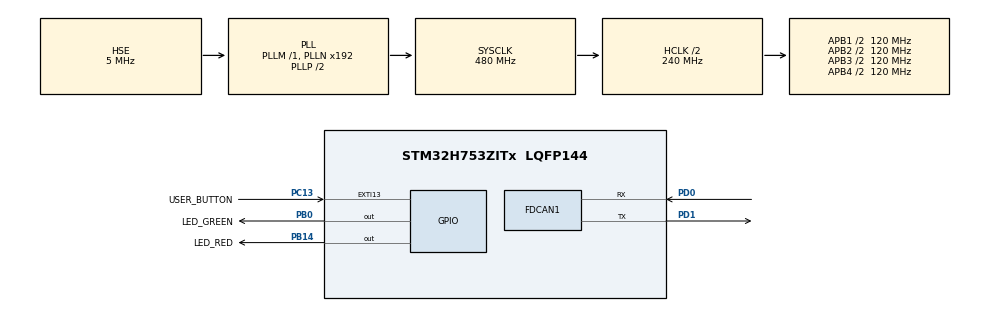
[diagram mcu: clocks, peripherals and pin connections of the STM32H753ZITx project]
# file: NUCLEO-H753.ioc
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CORTEX_M7.default_mode_Activation=1
FDCAN1.AutoRetransmission=ENABLE
FDCAN1.CalculateBaudRateNominal=999999
FDCAN1.CalculateTimeBitNominal=1000
FDCAN1.CalculateTimeQuantumNominal=8.333333333333334
FDCAN1.DataSyncJumpWidth=5
FDCAN1.DataTimeSeg1=8
FDCAN1.DataTimeSeg2=6
FDCAN1.FrameFormat=FDCAN_FRAME_FD_BRS
FDCAN1.NominalPrescaler=1
FDCAN1.NominalSyncJumpWidth=62
FDCAN1.NominalTimeSeg1=101
FDCAN1.NominalTimeSeg2=18
FDCAN1.RxBufferSize=FDCAN_DATA_BYTES_12
FDCAN1.RxFifo0ElmtSize=FDCAN_DATA_BYTES_12
FDCAN1.RxFifo0ElmtsNbr=2
FDCAN1.RxFifo1ElmtSize=FDCAN_DATA_BYTES_12
FDCAN1.StdFiltersNbr=1
FDCAN1.TransmitPause=ENABLE
FDCAN1.TxFifoQueueElmtsNbr=1
Mcu.Family=STM32H7
Mcu.Name=STM32H753ZITx
Mcu.Package=LQFP144
NVIC.EXTI15_10_IRQn=true\:1\:0\:true\:false\:true\:true\:true\:true
NVIC.FDCAN1_IT0_IRQn=true\:0\:0\:false\:false\:true\:true\:true\:true
NVIC.PriorityGroup=NVIC_PRIORITYGROUP_4
PB0.GPIO_Label=LED_GREEN
PB0.GPIO_Speed=GPIO_SPEED_FREQ_LOW
PB0.Signal=GPIO_Output
PB14.GPIO_Label=LED_RED
PB14.Signal=GPIO_Output
PC13.GPIO_Label=USER_BUTTON
PC13.Signal=GPXTI13
PD0.GPIO_Speed=GPIO_SPEED_FREQ_HIGH
PD0.Mode=FDCAN_Activate
PD0.Signal=FDCAN1_RX
PD1.GPIO_Speed=GPIO_SPEED_FREQ_HIGH
PD1.Mode=FDCAN_Activate
PD1.Signal=FDCAN1_TX
PH0-OSC_IN\ (PH0).Mode=HSE-External-Clock-Source
PH0-OSC_IN\ (PH0).Signal=RCC_OSC_IN
ProjectManager.HeapSize=0x200
ProjectManager.StackSize=0x400
ProjectManager.TargetToolchain=STM32CubeIDE
RCC.ADCFreq_Value=10078125
RCC.APB1Freq_Value=120000000
RCC.APB2Freq_Value=120000000
RCC.APB3Freq_Value=120000000
RCC.APB4Freq_Value=120000000
RCC.CortexFreq_Value=480000000
RCC.D1PPRE=RCC_APB3_DIV2
RCC.D2PPRE1=RCC_APB1_DIV2
RCC.D2PPRE2=RCC_APB2_DIV2
RCC.D3PPRE=RCC_APB4_DIV2
RCC.DIVM1=1
RCC.DIVN1=192
RCC.DIVQ1=8
RCC.HCLKFreq_Value=240000000
RCC.HPRE=RCC_HCLK_DIV2
RCC.HSE_VALUE=5000000
RCC.PLLFRACN=0
RCC.PLLSourceVirtual=RCC_PLLSOURCE_HSE
RCC.SYSCLKFreq_VALUE=480000000
RCC.SYSCLKSource=RCC_SYSCLKSOURCE_PLLCLK
RCC.USBFreq_Value=120000000
VP_MEMORYMAP_VS_MEMORYMAP.Mode=CurAppReg
board=custom

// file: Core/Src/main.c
/* USER CODE BEGIN Header */
/**
  ******************************************************************************
  * @file           : main.c
  * @brief          : Main program body
  ******************************************************************************
  * @attention
  *
  * Copyright (c) 2024 STMicroelectronics.
  * All rights reserved.
  *
  * This software is licensed under terms that can be found in the LICENSE file
  * in the root directory of this software component.
  * If no LICENSE file comes with this software, it is provided AS-IS.
  *
  ******************************************************************************
  */
/* USER CODE END Header */
#include "main.h"

FDCAN_HandleTypeDef hfdcan1;

/* USER CODE BEGIN PV */
FDCAN_FilterTypeDef        sFilterConfig;
FDCAN_RxHeaderTypeDef rxHeader;
FDCAN_TxHeaderTypeDef txHeader;
uint8_t txData[12] = {0x00, 0xAA, 0xAA, 0xAA, 0xAA, 0xAA, 0xAA, 0xAA, 0xAA, 0xAA, 0xAA, 0xFF};
uint8_t rxData[12];
uint8_t button_status = 0;
/* USER CODE END PV */

void SystemClock_Config(void);
static void MPU_Config(void);
static void MX_GPIO_Init(void);
static void MX_FDCAN1_Init(void);

int main(void)
{

  /* MPU Configuration--------------------------------------------------------*/
  MPU_Config();

  /* MCU Configuration--------------------------------------------------------*/

  /* Reset of all peripherals, Initializes the Flash interface and the Systick. */
  HAL_Init();

  /* Configure the system clock */
  SystemClock_Config();

  /* Initialize all configured peripherals */
  MX_GPIO_Init();
  MX_FDCAN1_Init();
  /* USER CODE BEGIN 2 */
  sFilterConfig.IdType       = FDCAN_STANDARD_ID;
  sFilterConfig.FilterIndex  = 0U;
  sFilterConfig.FilterType   = FDCAN_FILTER_MASK;
  sFilterConfig.FilterConfig = FDCAN_FILTER_TO_RXFIFO0;
  sFilterConfig.FilterID1    = 0x555;
  sFilterConfig.FilterID2    = 0x7FF;
  if (HAL_FDCAN_ConfigFilter(&hfdcan1, &sFilterConfig) != HAL_OK)
  {
    Error_Handler();
  }

  /**
    *  Configure global filter:
    *    - Filter all remote frames with STD and EXT ID
    *    - Reject non matching frames with STD ID and EXT ID
    */
  if (HAL_FDCAN_ConfigGlobalFilter(&hfdcan1,
                                   FDCAN_REJECT, FDCAN_REJECT,
                                   FDCAN_FILTER_REMOTE, FDCAN_FILTER_REMOTE) != HAL_OK)
  {
    Error_Handler();
  }

  /* Activate Rx FIFO 0 new message notification */
  if (HAL_FDCAN_ActivateNotification(&hfdcan1, FDCAN_IT_RX_FIFO0_NEW_MESSAGE, 0U) != HAL_OK)
  {
    Error_Handler();
  }

  /* Prepare Tx message Header */
  txHeader.Identifier          = 0x555;
  txHeader.IdType              = FDCAN_STANDARD_ID;
  txHeader.TxFrameType         = FDCAN_DATA_FRAME;
  txHeader.DataLength          = FDCAN_DLC_BYTES_12;
  txHeader.ErrorStateIndicator = FDCAN_ESI_ACTIVE;
  txHeader.BitRateSwitch       = FDCAN_BRS_ON;
  txHeader.FDFormat            = FDCAN_FD_CAN;
  txHeader.TxEventFifoControl  = FDCAN_NO_TX_EVENTS;
  txHeader.MessageMarker       = 0U;

  /**
    * Configure and enable Tx Delay Compensation, required for BRS mode.
    * TdcOffset default recommended value: DataTimeSeg1 * DataPrescaler
    * TdcFilter default recommended value: 0
    */
  if (HAL_FDCAN_ConfigTxDelayCompensation(&hfdcan1, (hfdcan1.Init.DataPrescaler * hfdcan1.Init.DataTimeSeg1), 0U) != HAL_OK)
  {
    Error_Handler();
  }

  if (HAL_FDCAN_EnableTxDelayCompensation(&hfdcan1) != HAL_OK)
  {
    Error_Handler();
  }

  /* Start FDCAN controller */
  if (HAL_FDCAN_Start(&hfdcan1) != HAL_OK)
  {
    Error_Handler();
  }
  /* USER CODE END 2 */

  /* Infinite loop */
  /* USER CODE BEGIN WHILE */
  while (1)
  {
     if(button_status == 1)
     {
    	 txData[0] ++;
    	 txData[11] --;
		 /* Add message to TX FIFO */
		 if (HAL_FDCAN_AddMessageToTxFifoQ(&hfdcan1, &txHeader, txData) != HAL_OK)
		 {
		      Error_Handler();
		 }
		 button_status = 0;
		 HAL_Delay(100);
     }
    /* USER CODE END WHILE */

  }
}

void SystemClock_Config(void)
{
  RCC_OscInitTypeDef RCC_OscInitStruct = {0};
  RCC_ClkInitTypeDef RCC_ClkInitStruct = {0};

  /** Supply configuration update enable
  */
  HAL_PWREx_ConfigSupply(PWR_LDO_SUPPLY);

  /** Configure the main internal regulator output voltage
  */
  __HAL_PWR_VOLTAGESCALING_CONFIG(PWR_REGULATOR_VOLTAGE_SCALE1);

  while(!__HAL_PWR_GET_FLAG(PWR_FLAG_VOSRDY)) {}

  __HAL_RCC_SYSCFG_CLK_ENABLE();
  __HAL_PWR_VOLTAGESCALING_CONFIG(PWR_REGULATOR_VOLTAGE_SCALE0);

  while(!__HAL_PWR_GET_FLAG(PWR_FLAG_VOSRDY)) {}

  /** Initializes the RCC Oscillators according to the specified parameters
  * in the RCC_OscInitTypeDef structure.
  */
  RCC_OscInitStruct.OscillatorType = RCC_OSCILLATORTYPE_HSE;
  RCC_OscInitStruct.HSEState = RCC_HSE_BYPASS;
  RCC_OscInitStruct.PLL.PLLState = RCC_PLL_ON;
  RCC_OscInitStruct.PLL.PLLSource = RCC_PLLSOURCE_HSE;
  RCC_OscInitStruct.PLL.PLLM = 1;
  RCC_OscInitStruct.PLL.PLLN = 192;
  RCC_OscInitStruct.PLL.PLLP = 2;
  RCC_OscInitStruct.PLL.PLLQ = 8;
  RCC_OscInitStruct.PLL.PLLR = 2;
  RCC_OscInitStruct.PLL.PLLRGE = RCC_PLL1VCIRANGE_2;
  RCC_OscInitStruct.PLL.PLLVCOSEL = RCC_PLL1VCOWIDE;
  RCC_OscInitStruct.PLL.PLLFRACN = 0;
  if (HAL_RCC_OscConfig(&RCC_OscInitStruct) != HAL_OK)
  {
    Error_Handler();
  }

  /** Initializes the CPU, AHB and APB buses clocks
  */
  RCC_ClkInitStruct.ClockType = RCC_CLOCKTYPE_HCLK|RCC_CLOCKTYPE_SYSCLK
                              |RCC_CLOCKTYPE_PCLK1|RCC_CLOCKTYPE_PCLK2
                              |RCC_CLOCKTYPE_D3PCLK1|RCC_CLOCKTYPE_D1PCLK1;
  RCC_ClkInitStruct.SYSCLKSource = RCC_SYSCLKSOURCE_PLLCLK;
  RCC_ClkInitStruct.SYSCLKDivider = RCC_SYSCLK_DIV1;
  RCC_ClkInitStruct.AHBCLKDivider = RCC_HCLK_DIV2;
  RCC_ClkInitStruct.APB3CLKDivider = RCC_APB3_DIV2;
  RCC_ClkInitStruct.APB1CLKDivider = RCC_APB1_DIV2;
  RCC_ClkInitStruct.APB2CLKDivider = RCC_APB2_DIV2;
  RCC_ClkInitStruct.APB4CLKDivider = RCC_APB4_DIV2;

  if (HAL_RCC_ClockConfig(&RCC_ClkInitStruct, FLASH_LATENCY_4) != HAL_OK)
  {
    Error_Handler();
  }
}

static void MX_FDCAN1_Init(void)
{

  hfdcan1.Instance = FDCAN1;
  hfdcan1.Init.FrameFormat = FDCAN_FRAME_FD_BRS;
  hfdcan1.Init.Mode = FDCAN_MODE_NORMAL;
  hfdcan1.Init.AutoRetransmission = ENABLE;
  hfdcan1.Init.TransmitPause = ENABLE;
  hfdcan1.Init.ProtocolException = DISABLE;
  hfdcan1.Init.NominalPrescaler = 1;
  hfdcan1.Init.NominalSyncJumpWidth = 62;
  hfdcan1.Init.NominalTimeSeg1 = 101;
  hfdcan1.Init.NominalTimeSeg2 = 18;
  hfdcan1.Init.DataPrescaler = 1;
  hfdcan1.Init.DataSyncJumpWidth = 5;
  hfdcan1.Init.DataTimeSeg1 = 8;
  hfdcan1.Init.DataTimeSeg2 = 6;
  hfdcan1.Init.MessageRAMOffset = 0;
  hfdcan1.Init.StdFiltersNbr = 1;
  hfdcan1.Init.ExtFiltersNbr = 0;
  hfdcan1.Init.RxFifo0ElmtsNbr = 2;
  hfdcan1.Init.RxFifo0ElmtSize = FDCAN_DATA_BYTES_12;
  hfdcan1.Init.RxFifo1ElmtsNbr = 0;
  hfdcan1.Init.RxFifo1ElmtSize = FDCAN_DATA_BYTES_12;
  hfdcan1.Init.RxBuffersNbr = 0;
  hfdcan1.Init.RxBufferSize = FDCAN_DATA_BYTES_12;
  hfdcan1.Init.TxEventsNbr = 0;
  hfdcan1.Init.TxBuffersNbr = 0;
  hfdcan1.Init.TxFifoQueueElmtsNbr = 1;
  hfdcan1.Init.TxFifoQueueMode = FDCAN_TX_FIFO_OPERATION;
  hfdcan1.Init.TxElmtSize = FDCAN_DATA_BYTES_8;
  if (HAL_FDCAN_Init(&hfdcan1) != HAL_OK)
  {
    Error_Handler();
  }

}

static void MX_GPIO_Init(void)
{
  GPIO_InitTypeDef GPIO_InitStruct = {0};

  /* GPIO Ports Clock Enable */
  __HAL_RCC_GPIOC_CLK_ENABLE();
  __HAL_RCC_GPIOH_CLK_ENABLE();
  __HAL_RCC_GPIOB_CLK_ENABLE();
  __HAL_RCC_GPIOD_CLK_ENABLE();

  /*Configure GPIO pin Output Level */
  HAL_GPIO_WritePin(GPIOB, LED_GREEN_Pin|LED_RED_Pin, GPIO_PIN_RESET);

  /*Configure GPIO pin : USER_BUTTON_Pin */
  GPIO_InitStruct.Pin = USER_BUTTON_Pin;
  GPIO_InitStruct.Mode = GPIO_MODE_IT_RISING;
  GPIO_InitStruct.Pull = GPIO_NOPULL;
  HAL_GPIO_Init(USER_BUTTON_GPIO_Port, &GPIO_InitStruct);

  /*Configure GPIO pins : LED_GREEN_Pin LED_RED_Pin */
  GPIO_InitStruct.Pin = LED_GREEN_Pin|LED_RED_Pin;
  GPIO_InitStruct.Mode = GPIO_MODE_OUTPUT_PP;
  GPIO_InitStruct.Pull = GPIO_NOPULL;
  GPIO_InitStruct.Speed = GPIO_SPEED_FREQ_LOW;
  HAL_GPIO_Init(GPIOB, &GPIO_InitStruct);

  /* EXTI interrupt init*/
  HAL_NVIC_SetPriority(EXTI15_10_IRQn, 1, 0);
  HAL_NVIC_EnableIRQ(EXTI15_10_IRQn);

}

/* USER CODE BEGIN 4 */
/**
  * @brief  Rx FIFO 0 callback.
  * @param  hfdcan pointer to an FDCAN_HandleTypeDef structure that contains
  *         the configuration information for the specified FDCAN.
  * @param  RxFifo0ITs indicates which Rx FIFO 0 interrupts are signaled.
  *         This parameter can be any combination of @arg FDCAN_Rx_Fifo0_Interrupts.
  */
void HAL_FDCAN_RxFifo0Callback(FDCAN_HandleTypeDef *hfdcan, uint32_t RxFifo0ITs)
{
  if ((RxFifo0ITs & FDCAN_IT_RX_FIFO0_NEW_MESSAGE) != 0U)
  {
    /* Retrieve Rx messages from RX FIFO0 */
    if (HAL_FDCAN_GetRxMessage(hfdcan, FDCAN_RX_FIFO0, &rxHeader, rxData) != HAL_OK)
    {
      Error_Handler();
    }
    HAL_GPIO_TogglePin(LED_GREEN_GPIO_Port, LED_GREEN_Pin);
  }
}

/**
  * @brief EXTI line detection callbacks
  * @param GPIO_Pin: Specifies the pins connected EXTI line
  * @retval None
  */
void HAL_GPIO_EXTI_Callback(uint16_t GPIO_Pin)
{
  if (GPIO_Pin == USER_BUTTON_Pin)
  {
      button_status = 1;
  }
}
/* USER CODE END 4 */

 /* MPU Configuration */

void MPU_Config(void)
{
  MPU_Region_InitTypeDef MPU_InitStruct = {0};

  /* Disables the MPU */
  HAL_MPU_Disable();

  /** Initializes and configures the Region and the memory to be protected
  */
  MPU_InitStruct.Enable = MPU_REGION_ENABLE;
  MPU_InitStruct.Number = MPU_REGION_NUMBER0;
  MPU_InitStruct.BaseAddress = 0x0;
  MPU_InitStruct.Size = MPU_REGION_SIZE_4GB;
  MPU_InitStruct.SubRegionDisable = 0x87;
  MPU_InitStruct.TypeExtField = MPU_TEX_LEVEL0;
  MPU_InitStruct.AccessPermission = MPU_REGION_NO_ACCESS;
  MPU_InitStruct.DisableExec = MPU_INSTRUCTION_ACCESS_DISABLE;
  MPU_InitStruct.IsShareable = MPU_ACCESS_SHAREABLE;
  MPU_InitStruct.IsCacheable = MPU_ACCESS_NOT_CACHEABLE;
  MPU_InitStruct.IsBufferable = MPU_ACCESS_NOT_BUFFERABLE;

  HAL_MPU_ConfigRegion(&MPU_InitStruct);
  /* Enables the MPU */
  HAL_MPU_Enable(MPU_PRIVILEGED_DEFAULT);

}

void Error_Handler(void)
{
  __disable_irq();
  while (1)
  {
  }
}
